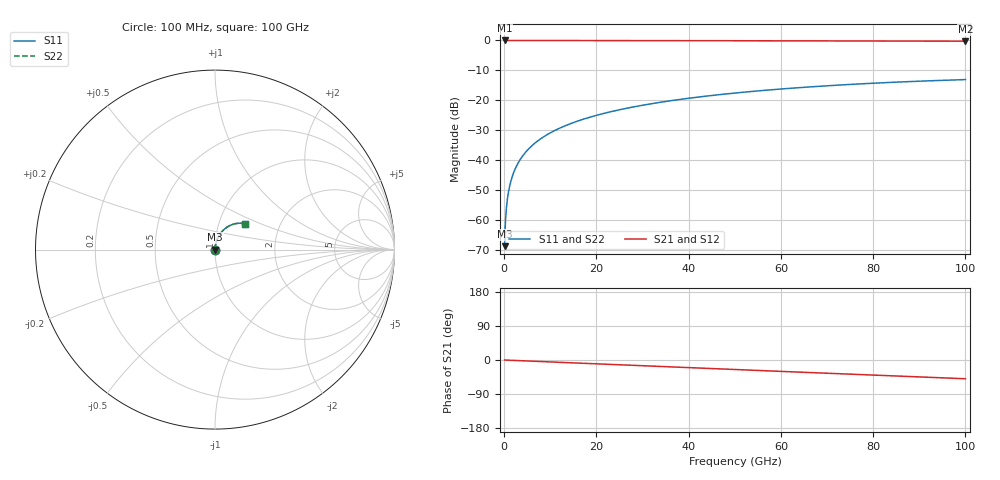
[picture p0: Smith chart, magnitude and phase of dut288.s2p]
! Touchstone file exported from HFSS 2026.1.0
!  File:  C:/ffzhzh/LocalFiles/Ansys_Project_Files/temp_train_TSV_288_1783508967_41296.aedt
!  Generated:  07:10:51 PM Jul  8, 2026
!  Design:  TSV
!  Project:  temp_train_TSV_288_1783508967_41296
! Variables:
!  h_bsmrdl = 2um
!  h_ox = 20um
!  h_rdl = 5um
!  h_sub = 93.65um
!  h_tmrdl = 5um
!  h_tsv = 93.65um
!  h_via = 3um
!  l_bsmrdl = 300um
!  l_sub = 418.68um
!  l_tmrdl = 200um
!  m_sub = 200um
!  pitch = 57.46um
!  r_tsv = 9.34um
!  s_tmrdl = 10um
!  w_bsmrdl = 18um
!  w_sub = 500um
!  w_tmrdl = 12um
!  x_tsv_center1 = 206um
!  x_tsv_center2 = 524um
!  x_tsv_center3 = 736um
!  x_tsv_center4 = 1054um
!  x_tsv_center5 = 1266um
!  x_tsv_center6 = 1584um
# GHz S MA R 50.000000
! Terminal data exported
! Port[1] = TSV1_1_T1
! Port[2] = TSV1_1_T2
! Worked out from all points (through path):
!   1000 points, 100 MHz to 100 GHz, reference 50 ohm
!   highest |S21| = 0.00 dB at 100 MHz (marker M1); lowest = -0.2 dB at 100 GHz (marker M2)
!   group delay of S21, straight-line fit = 1.37 ps
!   lowest |S11| = -68.8 dB at 100 MHz (marker M3), VSWR 1.00, Z = 50 + j0.0327 ohm
!   |S11| at or under -10 dB: start of sweep to end of sweep
!   |S22| runs from -68.8 to -13.1 dB; largest |S21 - S12| = 3.1e-15
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0.1  0.0003623 64.5  0.9998 -0.1  0.9998 -0.1  0.0003623 64.5
! Gamma 0 0 0 0
! Port Impedance 50 0 50 0
0.3  0.0009875 79.0  0.9998 -0.2  0.9998 -0.2  0.0009875 79.0
0.7  0.002207 82.5  0.9997 -0.4  0.9997 -0.4  0.002207 82.5
0.8  0.002503 82.8  0.9997 -0.4  0.9997 -0.4  0.002503 82.8
1  0.00309 83.4  0.9997 -0.5  0.9997 -0.5  0.00309 83.4
1.3  0.003962 83.9  0.9996 -0.7  0.9996 -0.7  0.003962 83.9
1.7  0.005118 84.3  0.9996 -0.9  0.9996 -0.9  0.005118 84.3
2.3  0.006841 84.6  0.9995 -1.2  0.9995 -1.2  0.006841 84.6
3  0.008838 84.8  0.9994 -1.5  0.9994 -1.5  0.008838 84.8
3.8  0.0111 84.7  0.9993 -1.9  0.9993 -1.9  0.0111 84.7
4.8  0.01393 84.6  0.9992 -2.5  0.9992 -2.5  0.01393 84.6
6  0.0173 84.3  0.999 -3.1  0.999 -3.1  0.0173 84.3
8.8  0.02513 83.3  0.9987 -4.5  0.9987 -4.5  0.02513 83.3
12.4  0.03511 81.8  0.9982 -6.3  0.9982 -6.3  0.03511 81.8
16.8  0.04719 79.8  0.9975 -8.5  0.9975 -8.5  0.04719 79.8
24.2  0.06716 76.4  0.9961 -12.2  0.9961 -12.2  0.06716 76.4
33.4  0.09125 72.0  0.9939 -16.9  0.9939 -16.9  0.09125 72.0
41.2  0.1108 68.2  0.9917 -20.7  0.9917 -20.7  0.1108 68.2
50.1  0.1321 63.9  0.9889 -25.2  0.9889 -25.2  0.1321 63.9
66.7  0.168 55.8  0.9832 -33.3  0.9832 -33.3  0.168 55.8
83.4  0.1982 47.8  0.9772 -41.5  0.9772 -41.5  0.1982 47.8
100  0.2214 39.9  0.9718 -49.5  0.9718 -49.5  0.2214 39.9
